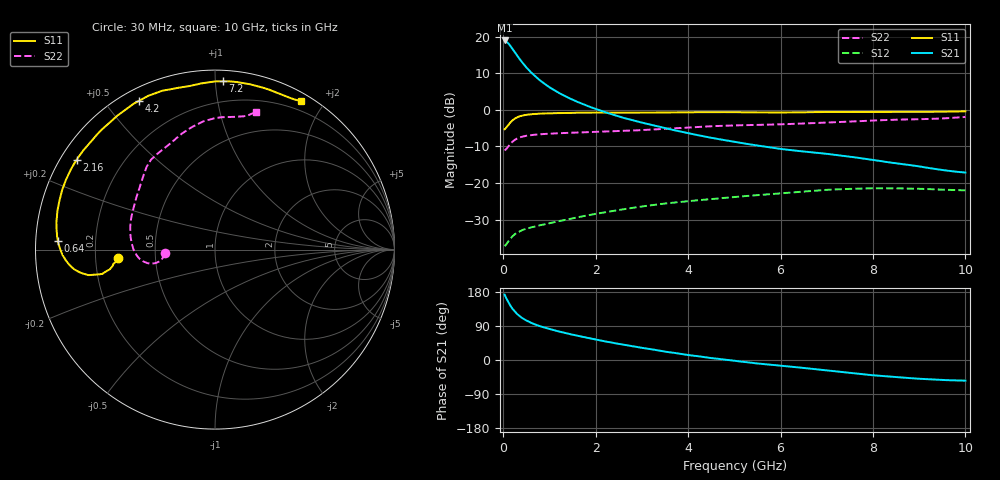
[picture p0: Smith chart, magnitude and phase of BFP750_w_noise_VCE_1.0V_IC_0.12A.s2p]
! Infineon Technologies  Discrete & RF Semiconductors
! BFP750
! VCE =  1.0 V,  IC = 0.12 A
! Common Emitter S-Parameters:  Jan 2016
# GHz  S  MA  R  50
!  f  S11  S21  S12  S22
! GHz  MAG  ANG  MAG  ANG  MAG  ANG  MAG  ANG
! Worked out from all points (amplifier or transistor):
!   229 points, 30 MHz to 10 GHz, reference 50 ohm
!   highest |S21| = 19.0 dB at 30 MHz (marker M1)
!   |S21| within 3 dB of that: start of sweep to 239.2 MHz
!   unconditionally stable (mu >= 1): start of sweep to end of sweep
!   at 280 MHz: K = 1.63, MAG = 19.8 dB, |S12| = -33.7 dB
!   at 1.78 GHz: K = 1.77, MAG = 10.0 dB, |S12| = -28.9 dB
!   at 10 GHz: K = 2.00, MAG = -3.3 dB, |S12| = -22.0 dB
!   lowest NFmin = 1.96 dB at 450 MHz
!   S11 on the Smith chart (normalised r, x): 30 MHz: 0.30, -0.04; 640 MHz: 0.07, +0.03; 2.16 GHz: 0.05, +0.30; 4.2 GHz: 0.05, +0.61; 7.2 GHz: 0.07, +1.04; 10 GHz: 0.09, +1.74
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0.03  0.5437 -175.1  8.913 172.3  0.0137 7.2  0.2798 -176.0
0.07  0.5773 -171.0  8.605 161.8  0.0146 13.0  0.2944 -171.0
0.11  0.6215 -168.6  8.166 152.5  0.0159 17.4  0.3171 -168.1
0.15  0.6684 -168.0  7.594 144.2  0.0172 19.9  0.3411 -167.2
0.2  0.7199 -168.6  6.844 135.2  0.0187 21.1  0.3679 -167.6
0.26  0.7667 -170.6  6.043 126.6  0.0202 21.6  0.3927 -169.5
0.3  0.7915 -172.0  5.547 121.5  0.021 21.8  0.4061 -170.8
0.4  0.8326 -175.8  4.552 111.6  0.0225 21.9  0.4291 -174.1
0.5  0.8572 -179.2  3.816 104.2  0.0237 22.2  0.4431 -177.1
0.64  0.8769 176.8  3.098 96.5  0.0251 23.1  0.4553 179.4
0.8  0.8899 172.7  2.521 88.9  0.0265 24.2  0.4647 176.0
1.04  0.9011 167.5  1.971 80.4  0.0286 25.8  0.4746 171.8
1.34  0.9097 161.5  1.541 71.2  0.0314 27.5  0.4842 167.3
1.7  0.917 155.0  1.218 61.6  0.0349 28.4  0.4941 162.5
2.16  0.919 146.9  0.954 50.3  0.0394 28.2  0.5038 156.2
3.4  0.9214 127.4  0.583 24.4  0.0516 23.4  0.5454 140.1
4.2  0.9309 116.9  0.453 10.2  0.0581 18.6  0.5834 132.1
5.1  0.9305 107.4  0.358 -3.6  0.0652 13.3  0.6166 124.4
6.8  0.9334 91.7  0.258 -24.8  0.079 0.5  0.6637 107.6
7.2  0.9385 87.4  0.242 -30.1  0.0818 -3.5  0.6796 104.0
8.4  0.9409 73.4  0.19 -44.3  0.0847 -15.8  0.7324 90.0
10  0.9569 59.8  0.139 -54.5  0.0794 -27.9  0.8013 73.4
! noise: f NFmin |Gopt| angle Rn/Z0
0.45  1.96  0.39  -169  0.34
0.9  1.96  0.49  -163  0.17
1.5  1.98  0.59  -154  0.11
1.9  1.99  0.6  -148  0.13
2.4  2.01  0.6  -141  0.19
3.5  2.46  0.62  -124  0.32
